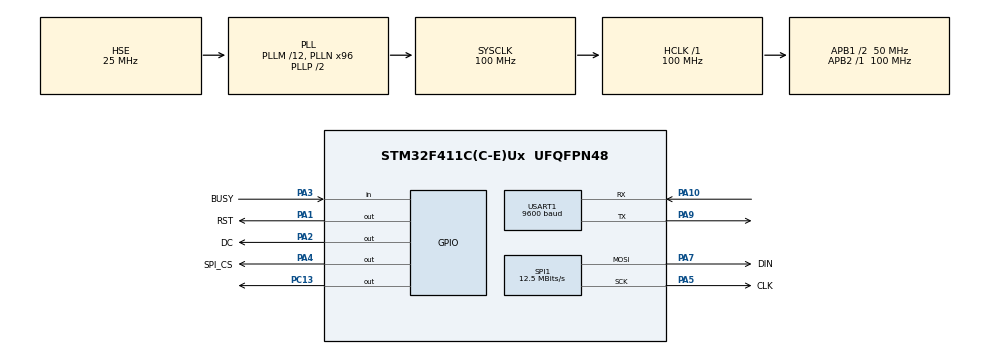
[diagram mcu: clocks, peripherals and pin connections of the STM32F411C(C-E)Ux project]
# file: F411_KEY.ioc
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Mcu.Family=STM32F4
Mcu.Name=STM32F411C(C-E)Ux
Mcu.Package=UFQFPN48
NVIC.PriorityGroup=NVIC_PRIORITYGROUP_4
NVIC.TIM2_IRQn=true\:10\:0\:true\:false\:true\:true\:true\:true
NVIC.USART1_IRQn=true\:3\:0\:true\:false\:true\:true\:true\:true
PA1.GPIO_Label=RST
PA1.Signal=GPIO_Output
PA10.GPIO_PuPd=GPIO_PULLUP
PA10.Mode=Asynchronous
PA10.Signal=USART1_RX
PA13.Mode=Serial_Wire
PA13.Signal=SYS_JTMS-SWDIO
PA14.Mode=Serial_Wire
PA14.Signal=SYS_JTCK-SWCLK
PA2.GPIO_Label=DC
PA2.Signal=GPIO_Output
PA3.GPIO_Label=BUSY
PA3.GPIO_PuPd=GPIO_PULLDOWN
PA3.Signal=GPIO_Input
PA4.GPIO_Label=SPI_CS
PA4.Signal=GPIO_Output
PA5.GPIO_Label=CLK    
PA5.Mode=TX_Only_Simplex_Unidirect_Master
PA5.Signal=SPI1_SCK
PA7.GPIO_Label=DIN
PA7.Mode=TX_Only_Simplex_Unidirect_Master
PA7.Signal=SPI1_MOSI
PA9.GPIO_PuPd=GPIO_PULLUP
PA9.Mode=Asynchronous
PA9.Signal=USART1_TX
PC13-ANTI_TAMP.Signal=GPIO_Output
PH0\ -\ OSC_IN.Mode=HSE-External-Oscillator
PH0\ -\ OSC_IN.Signal=RCC_OSC_IN
PH1\ -\ OSC_OUT.Mode=HSE-External-Oscillator
PH1\ -\ OSC_OUT.Signal=RCC_OSC_OUT
ProjectManager.HeapSize=0x200
ProjectManager.StackSize=0x400
ProjectManager.TargetToolchain=STM32CubeIDE
RCC.48MHZClocksFreq_Value=50000000
RCC.AHBFreq_Value=100000000
RCC.APB1CLKDivider=RCC_HCLK_DIV2
RCC.APB1Freq_Value=50000000
RCC.APB1TimFreq_Value=100000000
RCC.APB2Freq_Value=100000000
RCC.APB2TimFreq_Value=100000000
RCC.CortexFreq_Value=100000000
RCC.HCLKFreq_Value=100000000
RCC.HSE_VALUE=25000000
RCC.HSI_VALUE=16000000
RCC.LSE_VALUE=32768
RCC.PLLM=12
RCC.PLLN=96
RCC.PLLSourceVirtual=RCC_PLLSOURCE_HSE
RCC.SYSCLKFreq_VALUE=100000000
RCC.SYSCLKSource=RCC_SYSCLKSOURCE_PLLCLK
RCC.VCOOutputFreq_Value=200000000
SPI1.BaudRatePrescaler=SPI_BAUDRATEPRESCALER_8
SPI1.CalculateBaudRate=12.5 MBits/s
SPI1.Direction=SPI_DIRECTION_2LINES
SPI1.Mode=SPI_MODE_MASTER
SPI1.VirtualType=VM_MASTER
TIM2.Period=2000
TIM2.Prescaler=50000
USART1.BaudRate=9600
USART1.VirtualMode=VM_ASYNC
VP_TIM2_VS_ClockSourceINT.Mode=Internal
board=custom

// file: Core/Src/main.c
/* USER CODE BEGIN Header */
/**
  ******************************************************************************
  * @file           : main.c
  * @brief          : Main program body
  ******************************************************************************
  * @attention
  *
  * Copyright (c) 2024 STMicroelectronics.
  * All rights reserved.
  *
  * This software is licensed under terms that can be found in the LICENSE file
  * in the root directory of this software component.
  * If no LICENSE file comes with this software, it is provided AS-IS.
  *
  ******************************************************************************
  */
/* USER CODE END Header */
#include "main.h"

/* USER CODE BEGIN Includes */
#include <stdbool.h>
#include "KEY.h"
#include "EPD_Test.h"
#include "EPD_1in54_V2.h"
/* USER CODE END Includes */

SPI_HandleTypeDef hspi1;

TIM_HandleTypeDef htim2;

UART_HandleTypeDef huart1;

/* USER CODE BEGIN PV */
extern uint8_t Recive_array[10];
uint8_t TEST[2] = {0x00, 0x00};
extern bool state;
uint8_t* BlackImage;
/* USER CODE END PV */

void SystemClock_Config(void);
static void MX_GPIO_Init(void);
static void MX_USART1_UART_Init(void);
static void MX_SPI1_Init(void);
static void MX_TIM2_Init(void);

int main(void)
{

  /* MCU Configuration--------------------------------------------------------*/

  /* Reset of all peripherals, Initializes the Flash interface and the Systick. */
  HAL_Init();

  /* Configure the system clock */
  SystemClock_Config();

  /* Initialize all configured peripherals */
  MX_GPIO_Init();
  MX_USART1_UART_Init();
  MX_SPI1_Init();
  MX_TIM2_Init();
  /* USER CODE BEGIN 2 */
  TIM2->DIER |= TIM_DIER_UIE;
  TIM2->CR1 |= TIM_CR1_CEN;

  KEY_Init();
  USART1->CR1 |= USART_CR1_RXNEIE;

  NVIC_DisableIRQ(EXTI1_IRQn);

 // EPD_test();
  NVIC_DisableIRQ(TIM2_IRQn);

  DEV_Module_Init();

  EPD_1IN54_V2_Init();
  EPD_1IN54_V2_Clear();
  HAL_Delay(500);

  uint16_t Imagesize = ((EPD_1IN54_V2_WIDTH % 8 == 0)? (EPD_1IN54_V2_WIDTH / 8 ): (EPD_1IN54_V2_WIDTH / 8 + 1)) * EPD_1IN54_V2_HEIGHT;
  if((BlackImage = (UBYTE *)malloc(Imagesize)) == NULL) {
	  while(1);
  }

  Paint_NewImage(BlackImage, EPD_1IN54_V2_WIDTH, EPD_1IN54_V2_HEIGHT, 180, WHITE);
  Paint_Clear(WHITE);
  EPD_1IN54_V2_Display(BlackImage);
  HAL_Delay(300);

  Paint_DrawString_EN(1, 1,"START", &Font16, WHITE, BLACK);
  Paint_DrawString_EN(1, 23,"STARTER", &Font16, WHITE, BLACK);
  Paint_DrawString_EN(1, 45,"Battery Voltage:", &Font16, WHITE, BLACK);
  Paint_DrawString_EN(1, 67,"00.00 V", &Font16, WHITE, BLACK);
  Paint_DrawString_EN(1, 89,"Time of start:", &Font16, WHITE, BLACK);
  Paint_DrawString_EN(1, 111,"000 Sec", &Font16, WHITE, BLACK);

  EPD_1IN54_V2_Display(BlackImage);

  HAL_Delay(500);

  EPD_1IN54_V2_DisplayPartBaseImage(BlackImage);
  EPD_1IN54_V2_Init_Partial();
  Paint_SelectImage(BlackImage);

  HAL_Delay(1000);

  NVIC_EnableIRQ(TIM2_IRQn);

  KEY_Request_state();

  /* USER CODE END 2 */

  /* Infinite loop */
  /* USER CODE BEGIN WHILE */
  while (1)
  {

//	if( (GPIOA->IDR & GPIO_IDR_ID0) != GPIO_IDR_ID0)
//	{
//		GPIOC->ODR |= GPIO_ODR_OD13;
//		GPIOC->ODR &= ~GPIO_ODR_OD13;
//		KEY_Press_Button();
//
//	}

	  if(!state)
	  {
		KEY_Event(Recive_array);
		state = 1;
	  }

    /* USER CODE END WHILE */

  }
}

void SystemClock_Config(void)
{
  RCC_OscInitTypeDef RCC_OscInitStruct = {0};
  RCC_ClkInitTypeDef RCC_ClkInitStruct = {0};

  /** Configure the main internal regulator output voltage
  */
  __HAL_RCC_PWR_CLK_ENABLE();
  __HAL_PWR_VOLTAGESCALING_CONFIG(PWR_REGULATOR_VOLTAGE_SCALE1);

  /** Initializes the RCC Oscillators according to the specified parameters
  * in the RCC_OscInitTypeDef structure.
  */
  RCC_OscInitStruct.OscillatorType = RCC_OSCILLATORTYPE_HSE;
  RCC_OscInitStruct.HSEState = RCC_HSE_ON;
  RCC_OscInitStruct.PLL.PLLState = RCC_PLL_ON;
  RCC_OscInitStruct.PLL.PLLSource = RCC_PLLSOURCE_HSE;
  RCC_OscInitStruct.PLL.PLLM = 12;
  RCC_OscInitStruct.PLL.PLLN = 96;
  RCC_OscInitStruct.PLL.PLLP = RCC_PLLP_DIV2;
  RCC_OscInitStruct.PLL.PLLQ = 4;
  if (HAL_RCC_OscConfig(&RCC_OscInitStruct) != HAL_OK)
  {
    Error_Handler();
  }

  /** Initializes the CPU, AHB and APB buses clocks
  */
  RCC_ClkInitStruct.ClockType = RCC_CLOCKTYPE_HCLK|RCC_CLOCKTYPE_SYSCLK
                              |RCC_CLOCKTYPE_PCLK1|RCC_CLOCKTYPE_PCLK2;
  RCC_ClkInitStruct.SYSCLKSource = RCC_SYSCLKSOURCE_PLLCLK;
  RCC_ClkInitStruct.AHBCLKDivider = RCC_SYSCLK_DIV1;
  RCC_ClkInitStruct.APB1CLKDivider = RCC_HCLK_DIV2;
  RCC_ClkInitStruct.APB2CLKDivider = RCC_HCLK_DIV1;

  if (HAL_RCC_ClockConfig(&RCC_ClkInitStruct, FLASH_LATENCY_3) != HAL_OK)
  {
    Error_Handler();
  }
}

static void MX_SPI1_Init(void)
{

  /* SPI1 parameter configuration*/
  hspi1.Instance = SPI1;
  hspi1.Init.Mode = SPI_MODE_MASTER;
  hspi1.Init.Direction = SPI_DIRECTION_2LINES;
  hspi1.Init.DataSize = SPI_DATASIZE_8BIT;
  hspi1.Init.CLKPolarity = SPI_POLARITY_LOW;
  hspi1.Init.CLKPhase = SPI_PHASE_1EDGE;
  hspi1.Init.NSS = SPI_NSS_SOFT;
  hspi1.Init.BaudRatePrescaler = SPI_BAUDRATEPRESCALER_8;
  hspi1.Init.FirstBit = SPI_FIRSTBIT_MSB;
  hspi1.Init.TIMode = SPI_TIMODE_DISABLE;
  hspi1.Init.CRCCalculation = SPI_CRCCALCULATION_DISABLE;
  hspi1.Init.CRCPolynomial = 10;
  if (HAL_SPI_Init(&hspi1) != HAL_OK)
  {
    Error_Handler();
  }

}

static void MX_TIM2_Init(void)
{

  TIM_ClockConfigTypeDef sClockSourceConfig = {0};
  TIM_MasterConfigTypeDef sMasterConfig = {0};

  htim2.Instance = TIM2;
  htim2.Init.Prescaler = 50000;
  htim2.Init.CounterMode = TIM_COUNTERMODE_UP;
  htim2.Init.Period = 2000;
  htim2.Init.ClockDivision = TIM_CLOCKDIVISION_DIV1;
  htim2.Init.AutoReloadPreload = TIM_AUTORELOAD_PRELOAD_DISABLE;
  if (HAL_TIM_Base_Init(&htim2) != HAL_OK)
  {
    Error_Handler();
  }
  sClockSourceConfig.ClockSource = TIM_CLOCKSOURCE_INTERNAL;
  if (HAL_TIM_ConfigClockSource(&htim2, &sClockSourceConfig) != HAL_OK)
  {
    Error_Handler();
  }
  sMasterConfig.MasterOutputTrigger = TIM_TRGO_RESET;
  sMasterConfig.MasterSlaveMode = TIM_MASTERSLAVEMODE_DISABLE;
  if (HAL_TIMEx_MasterConfigSynchronization(&htim2, &sMasterConfig) != HAL_OK)
  {
    Error_Handler();
  }

}

static void MX_USART1_UART_Init(void)
{

  huart1.Instance = USART1;
  huart1.Init.BaudRate = 9600;
  huart1.Init.WordLength = UART_WORDLENGTH_8B;
  huart1.Init.StopBits = UART_STOPBITS_1;
  huart1.Init.Parity = UART_PARITY_NONE;
  huart1.Init.Mode = UART_MODE_TX_RX;
  huart1.Init.HwFlowCtl = UART_HWCONTROL_NONE;
  huart1.Init.OverSampling = UART_OVERSAMPLING_16;
  if (HAL_UART_Init(&huart1) != HAL_OK)
  {
    Error_Handler();
  }

}

static void MX_GPIO_Init(void)
{
  GPIO_InitTypeDef GPIO_InitStruct = {0};
/* USER CODE BEGIN MX_GPIO_Init_1 */
/*
 * For PIN PA0
 */
  __HAL_RCC_GPIOA_CLK_ENABLE();
GPIOA->MODER &= ~GPIO_MODER_MODER0;
GPIOA->PUPDR |= GPIO_PUPDR_PUPD0_0;
SYSCFG->EXTICR[0] &= ~SYSCFG_EXTICR1_EXTI0;
EXTI->EMR |= EXTI_EMR_EM0;
EXTI->IMR |= EXTI_IMR_IM0;
EXTI->FTSR |= EXTI_FTSR_TR0;
EXTI->RTSR &= ~EXTI_RTSR_TR0;
EXTI->PR |= EXTI_PR_PR0;
NVIC_SetPriority(EXTI0_IRQn, 7);
NVIC_EnableIRQ(EXTI0_IRQn);
//TODO;

/*
 * For PIN PA15
 */

GPIOA->MODER &= ~GPIO_MODER_MODER15;
GPIOA->PUPDR |= GPIO_PUPDR_PUPD15_0;
SYSCFG->EXTICR[3] &= ~SYSCFG_EXTICR1_EXTI3;
EXTI->EMR |= EXTI_EMR_EM15;
EXTI->IMR |= EXTI_IMR_IM15;
EXTI->FTSR |= EXTI_FTSR_TR15;
EXTI->RTSR &= ~EXTI_RTSR_TR15;
EXTI->PR |= EXTI_PR_PR15;
NVIC_SetPriority(EXTI15_10_IRQn, 4);
NVIC_EnableIRQ(EXTI15_10_IRQn);

/*
 * For PIN PB0
 */
__HAL_RCC_GPIOB_CLK_ENABLE();
//GPIOB->MODER &= ~(0xfU << 2);
//GPIOB->PUPDR |= GPIO_PUPDR_PUPD1_0;
//SYSCFG->EXTICR[0] |= (0x1UL << SYSCFG_EXTICR1_EXTI1_Pos);
//EXTI->EMR |= EXTI_EMR_EM1;
//EXTI->IMR |= EXTI_IMR_IM1;
//EXTI->FTSR |= EXTI_FTSR_TR1;
//EXTI->RTSR &= ~EXTI_RTSR_TR1;
//EXTI->PR |= EXTI_PR_PR1;
//
//NVIC_SetPriority(EXTI1_IRQn, 5);
//NVIC_EnableIRQ(EXTI1_IRQn);

/*
 * For PIN PB5
 */
GPIOB->MODER &= ~(0x3U << 10);
GPIOB->PUPDR |= GPIO_PUPDR_PUPD5_0;
SYSCFG->EXTICR[1] |= (0x1UL << SYSCFG_EXTICR1_EXTI1_Pos);
EXTI->EMR |= EXTI_EMR_EM5;
EXTI->IMR |= EXTI_IMR_IM5;
EXTI->FTSR |= EXTI_FTSR_TR5;
EXTI->RTSR &= ~EXTI_RTSR_TR5;
EXTI->PR |= EXTI_PR_PR5;

NVIC_SetPriority(EXTI9_5_IRQn, 5);
NVIC_EnableIRQ(EXTI9_5_IRQn);

/* USER CODE END MX_GPIO_Init_1 */

  /* GPIO Ports Clock Enable */
  __HAL_RCC_GPIOC_CLK_ENABLE();
  __HAL_RCC_GPIOH_CLK_ENABLE();
  __HAL_RCC_GPIOA_CLK_ENABLE();

  /*Configure GPIO pin Output Level */
  HAL_GPIO_WritePin(GPIOC, GPIO_PIN_13, GPIO_PIN_RESET);

  /*Configure GPIO pin Output Level */
  HAL_GPIO_WritePin(GPIOA, RST_Pin|DC_Pin|SPI_CS_Pin, GPIO_PIN_RESET);

  /*Configure GPIO pin : PC13 */
  GPIO_InitStruct.Pin = GPIO_PIN_13;
  GPIO_InitStruct.Mode = GPIO_MODE_OUTPUT_PP;
  GPIO_InitStruct.Pull = GPIO_NOPULL;
  GPIO_InitStruct.Speed = GPIO_SPEED_FREQ_LOW;
  HAL_GPIO_Init(GPIOC, &GPIO_InitStruct);

  /*Configure GPIO pins : RST_Pin DC_Pin SPI_CS_Pin */
  GPIO_InitStruct.Pin = RST_Pin|DC_Pin|SPI_CS_Pin;
  GPIO_InitStruct.Mode = GPIO_MODE_OUTPUT_PP;
  GPIO_InitStruct.Pull = GPIO_NOPULL;
  GPIO_InitStruct.Speed = GPIO_SPEED_FREQ_LOW;
  HAL_GPIO_Init(GPIOA, &GPIO_InitStruct);

  /*Configure GPIO pin : BUSY_Pin */
  GPIO_InitStruct.Pin = BUSY_Pin;
  GPIO_InitStruct.Mode = GPIO_MODE_INPUT;
  GPIO_InitStruct.Pull = GPIO_PULLDOWN;
  HAL_GPIO_Init(BUSY_GPIO_Port, &GPIO_InitStruct);

}

void Error_Handler(void)
{
  __disable_irq();
  while (1)
  {
  }
}
